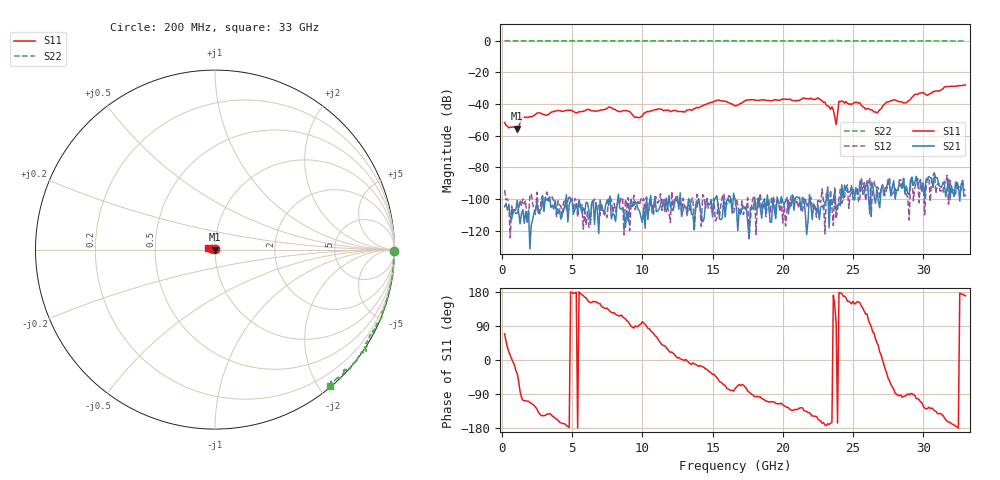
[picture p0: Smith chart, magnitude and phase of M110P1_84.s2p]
# GHZ S RI R 50
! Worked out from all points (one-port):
!   329 points, 200 MHz to 33 GHz, reference 50 ohm
!   lowest |S11| = -55.5 dB at 1.1 GHz (marker M1), VSWR 1.00, Z = 50.1 - j0.101 ohm
!   |S11| at or under -10 dB: start of sweep to end of sweep
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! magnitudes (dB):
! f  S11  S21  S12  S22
! 200 MHz  -51.7  -105.0  -94.4  0.0
! 1.1 GHz  -55.5  -100.9  -108.8  0.0
! 1.5 GHz  -48.2  -106.7  -100.1  0.0
! 2.5 GHz  -45.8  -102.1  -95.7  0.0
! 5.7 GHz  -44.8  -108.8  -103.6  0.0
! 7.7 GHz  -42.0  -98.1  -98.9  0.0
! 9.7 GHz  -48.7  -106.5  -101.5  0.0
! 11.2 GHz  -43.1  -106.3  -101.1  0.0
! 13 GHz  -45.2  -104.2  -104.6  0.0
! 15.4 GHz  -37.5  -104.6  -102.6  0.0
! 16.6 GHz  -41.2  -100.2  -105.0  -0.1
! 17.5 GHz  -37.3  -114.3  -99.3  -0.1
! 22.1 GHz  -36.9  -113.0  -105.8  -0.1
! 23.5 GHz  -41.7  -103.6  -106.0  0.1
! 23.8 GHz  -53.0  -107.5  -112.5  0.1
! 24 GHz  -38.3  -102.6  -99.9  0.0
! 25.5 GHz  -39.4  -88.5  -98.8  0.0
! 26.7 GHz  -45.7  -93.6  -92.3  0.0
! 27.6 GHz  -38.3  -90.6  -86.5  0.0
! 28.8 GHz  -39.2  -91.8  -97.3  -0.1
! 29.4 GHz  -33.9  -89.6  -93.1  0.0
! 33 GHz  -27.8  -97.7  -94.3  0.0
